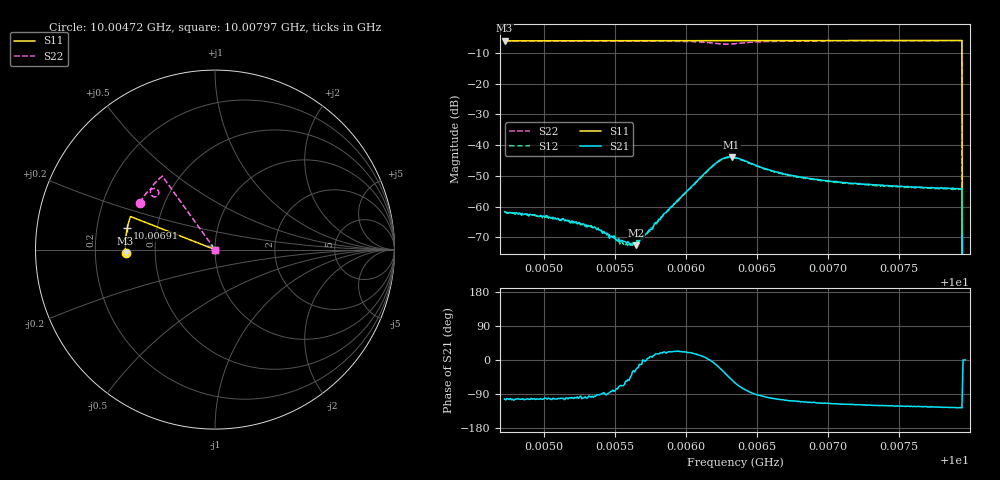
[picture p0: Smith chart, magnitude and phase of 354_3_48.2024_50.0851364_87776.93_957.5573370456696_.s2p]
#  HZ  S  RI  R  50.00
! Rohde & Schwarz Vector Network Analyzer
! Rohde-Schwarz,ZNB20-2Port,1311601062101988,3.16
! Created: UTC 3/20/2024, 11:51:56 AM
! freq[Hz]  re:S11  im:S11  re:S21  im:S21  re:S12  im:S12  re:S22  im:S22
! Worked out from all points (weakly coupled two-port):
!   401 points, 10.00472 GHz to 10.00797 GHz, reference 50 ohm
!   highest |S21| = -43.83 dB at 10.00632 GHz (marker M1); lowest = -72.6 dB at 10.00565 GHz (marker M2)
!   lowest |S11| = -6.0 dB at 10.00472 GHz (marker M3), VSWR 2.99, Z = 16.7 - j0.893 ohm
!   |S11| at or under -10 dB: 10.00794 GHz to end of sweep
!   |S22| runs from - to -6.0 dB; largest |S21 - S12| = 0.00037
!   S11 on the Smith chart (normalised r, x): 10.00472 GHz: 0.33, -0.02; 10.00691 GHz: 0.33, +0.11; 10.00797 GHz: 1.00, +0.00
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1.0004724e10  -0.4986 -0.0201  -0.000188 -0.000804  -0.000159 -0.000796  -0.4188 0.2615
1.0005007e10  -0.4997 -0.00157  -0.000123 -0.000677  -0.000117 -0.000664  -0.4088 0.2781
1.0005145e10  -0.5 0.00731  -0.000149 -0.000572  -9.56e-05 -0.000612  -0.4037 0.2863
1.0005267e10  -0.4999 0.0151  -0.000107 -0.000498  -1.51e-05 -0.000512  -0.3987 0.2934
1.0005397e10  -0.4998 0.0237  -8.65e-06 -0.000417  -6.55e-06 -0.000399  -0.3932 0.3012
1.0005526e10  -0.4996 0.0321  0.000101 -0.000284  0.000103 -0.000261  -0.3872 0.3091
1.0005575e10  -0.4996 0.0353  0.00015 -0.000222  0.00013 -0.000208  -0.3848 0.3121
1.0005632e10  -0.4994 0.0388  0.000219 -0.000115  0.000234 -0.000139  -0.3817 0.3156
1.0005648e10  -0.4993 0.04  0.000212 -9.91e-05  0.000212 -8.32e-05  -0.3809 0.3166
1.0005689e10  -0.4992 0.0425  0.000303 -6.13e-05  0.000274 -7.98e-05  -0.3785 0.3191
1.000581e10  -0.4987 0.0505  0.000604 0.000177  0.000563 0.000176  -0.3706 0.3268
1.0005907e10  -0.4981 0.0569  0.000964 0.000389  0.00094 0.000422  -0.3624 0.3329
1.0006191e10  -0.4961 0.0749  0.00467 -0.000516  0.00459 -0.000281  -0.318 0.3298
1.0006264e10  -0.4955 0.0794  0.00524 -0.0031  0.00529 -0.00281  -0.3151 0.3073
1.0006321e10  -0.4949 0.0828  0.00396 -0.00507  0.00411 -0.00474  -0.3296 0.2948
1.0006345e10  -0.4947 0.0844  0.00311 -0.0055  0.00334 -0.00521  -0.3373 0.2939
1.0006605e10  -0.4926 0.1008  -0.000728 -0.00377  -0.000527 -0.00374  -0.359 0.3308
1.0006889e10  -0.4893 0.1189  -0.00108 -0.00262  -0.000938 -0.00263  -0.3466 0.3556
1.0006913e10  -0.489 0.1205  -0.00106 -0.00254  -0.000956 -0.00258  -0.3455 0.3573
1.0007432e10  -0.4808 0.153  -0.0011 -0.00189  -0.00101 -0.00187  -0.3198 0.3863
1.0007926e10  -0.4712 0.1833  -0.00113 -0.00158  -0.00105 -0.00164  -0.2944 0.4086
1.0007967e10  0 0  0 0  0 0  0 0
